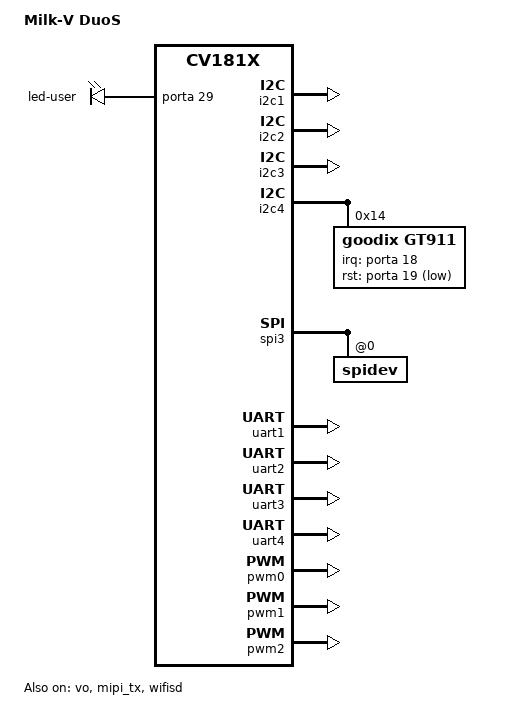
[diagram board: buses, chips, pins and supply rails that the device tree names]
/dts-v1/;
#include "cv181x_base_arm.dtsi"
#include "cv181x_asic_bga.dtsi"
#include "cv181x_asic_emmc.dtsi"
#include "cv181x_default_memmap.dtsi"

/ {
	model = "Milk-V DuoS";

	leds {
		compatible = "gpio-leds";
		led-user {
			gpios = <&porta 29 GPIO_ACTIVE_HIGH>;
			linux,default-trigger = "activity";
		};
	};

};

&mipi_rx {
	snsr-reset = <&porta 2 GPIO_ACTIVE_LOW>, <&porta 2 GPIO_ACTIVE_LOW>, <&porta 2 GPIO_ACTIVE_LOW>;
};

&i2c0 {
	status = "disabled";
};

&i2c1 {
	status = "okay";
};

&i2c2 {
	status = "okay";
};

&i2c3 {
	status = "okay";
};

&i2c4 {
	status = "okay";

	gt911: gt911@14 {
		compatible = "goodix,gt911";
		reg = <0x14>;
		interrupt-parent = <&porta>;
		interrupts = <18 IRQ_TYPE_EDGE_FALLING>;
		goodix,irq-gpio = <&porta 18 IRQ_TYPE_EDGE_FALLING>;
		goodix,rst-gpio = <&porta 19 GPIO_ACTIVE_LOW>;
		status = "okay";
	};
};

&spi3 {
	status = "okay";

	spidev@0 {
		status = "okay";
	};
};

&dac {
	/delete-property/ mute-gpio-l;
	/delete-property/ mute-gpio-r;
};

#if 0
/* mipi dsi for u-boot */
&vo {
	compatible = "cvitek,vo";
	reset-gpio = <&porte 2 GPIO_ACTIVE_LOW>;
	pwm-gpio = <&porte 0 GPIO_ACTIVE_HIGH>;
	power-ct-gpio = <&porte 1 GPIO_ACTIVE_HIGH>;
	status = "okay";
};

/* mipi dsi for kernel */
&mipi_tx {
	compatible = "cvitek,mipi_tx";
	reset-gpio = <&porte 2 GPIO_ACTIVE_LOW>;
	pwm-gpio = <&porte 0 GPIO_ACTIVE_HIGH>;
	power-ct-gpio = <&porte 1 GPIO_ACTIVE_HIGH>;
	status = "okay";
};
#endif

/* mipi dsi for u-boot */
&vo {
        compatible = "cvitek,vo";
#ifndef __UBOOT__
        /delete-property/ reset-gpio;
        /delete-property/ pwm-gpio;
#else
        reset-gpio = <&porte 2 GPIO_ACTIVE_LOW>;
        pwm-gpio = <&porte 0 GPIO_ACTIVE_HIGH>; // uboot阶段用作GPIO
#endif
        power-ct-gpio = <&porte 1 GPIO_ACTIVE_HIGH>;
        status = "okay";
};

/* mipi dsi for kernel */
&mipi_tx {
        compatible = "cvitek,mipi_tx";
#ifndef __UBOOT__
        reset-gpio = <&porte 2 GPIO_ACTIVE_LOW>;
        pwm-gpio = <&porte 0 GPIO_ACTIVE_HIGH>; // kernel阶段作为PWM
#else
        /delete-property/ reset-gpio;
        /delete-property/ pwm-gpio;
#endif
        power-ct-gpio = <&porte 1 GPIO_ACTIVE_HIGH>;
        status = "okay";
};

&wifisd {
	status = "okay";
	cap-sd-highspeed;
	sd-uhs-sdr25;
	sd-uhs-ddr50;
	sd-uhs-sdr104;
	min-frequency = <400000>;
	max-frequency = <187500000>;
};

&wifi_pin {
	status = "okay";
	compatible = "cvitek,wifi-pin";
	poweron-gpio = <&porta 15 GPIO_ACTIVE_HIGH>;
	wakeup-gpio = <&porte 7 GPIO_ACTIVE_HIGH>;
};

&usb {
	vbus-gpio = <&portb 6 0>;
};

&uart1 {
	status = "okay";
};

&uart2 {
	status = "okay";
};

&uart3 {
	status = "okay";
};

&uart4 {
	status = "okay";
};

&pwm0 {
        status = "okay";
};

&pwm1 {
      status = "okay";
};

&pwm2 {
      status = "okay";
};

